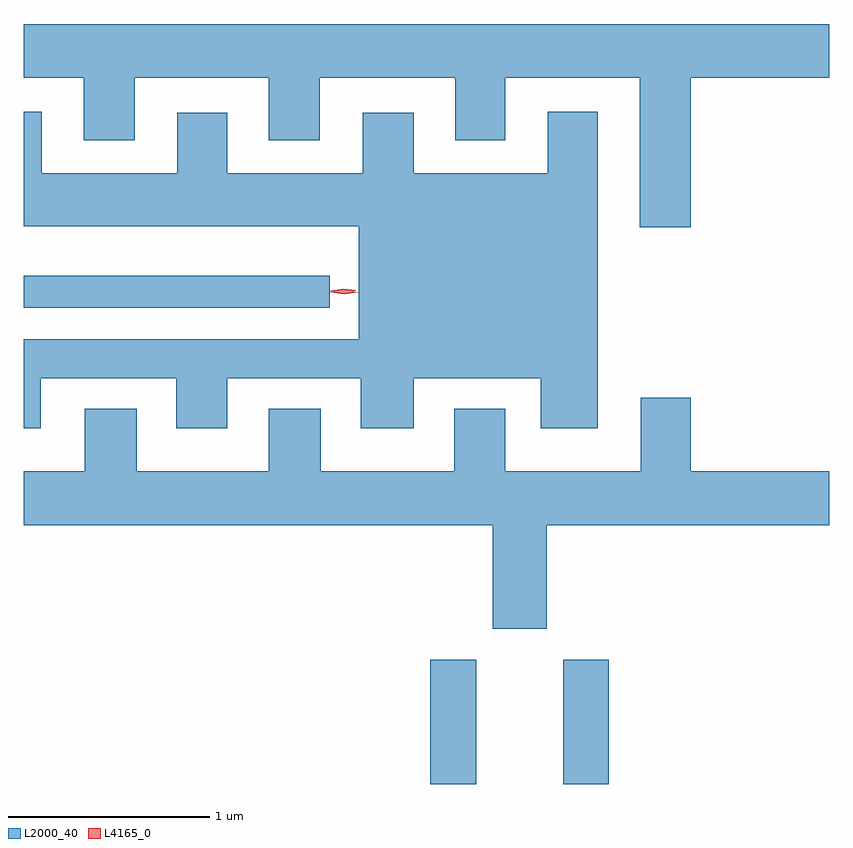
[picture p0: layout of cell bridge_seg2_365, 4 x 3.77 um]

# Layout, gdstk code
import gdstk
lib = gdstk.Library(unit=1e-6, precision=1e-09)
def R(c, l, rs):  # rectangles x0, y0, x1, y1
    for r in rs: c.add(gdstk.rectangle(r[:2], r[2:], *l))
def P(c, l, *ps):  # polygons
    for p in ps: c.add(gdstk.Polygon(p, *l))
L2000_40 = (2000, 40)
L4165_0 = (4165, 0)

bridge_seg2_365 = lib.new_cell('bridge_seg2_365')
R(bridge_seg2_365, L2000_40, [(598.826,1040.371,599.054,1040.989), (599.486,1040.371,599.714,1040.989), (596.808,1042.736,598.328,1042.894)])
P(bridge_seg2_365, L2000_40, [(600.119,1043.876),(600.808,1043.876),(600.808,1044.144),(596.808,1044.144),(596.808,1043.876),(597.106,1043.876),(597.106,1043.566),(597.359,1043.566),(597.359,1043.876),(598.026,1043.876),(598.026,1043.566),(598.279,1043.566),(598.279,1043.876),(598.951,1043.876),(598.951,1043.566),(599.199,1043.566),(599.199,1043.876),(599.866,1043.876),(599.866,1043.136),(600.119,1043.136)],
  [(596.894,1042.386),(597.566,1042.386),(597.566,1042.136),(597.819,1042.136),(597.819,1042.386),(598.481,1042.386),(598.481,1042.136),(598.744,1042.136),(598.744,1042.386),(599.376,1042.386),(599.376,1042.136),(599.659,1042.136),(599.659,1043.709),(599.411,1043.709),(599.411,1043.404),(598.744,1043.404),(598.744,1043.704),(598.491,1043.704),(598.491,1043.404),(597.819,1043.404),(597.819,1043.704),(597.571,1043.704),(597.571,1043.404),(596.899,1043.404),(596.899,1043.709),(596.808,1043.709),(596.808,1043.141),(598.471,1043.141),(598.471,1042.579),(596.808,1042.579),(596.808,1042.136),(596.894,1042.136)],
  [(599.404,1041.656),(600.808,1041.656),(600.808,1041.924),(600.119,1041.924),(600.119,1042.289),(599.871,1042.289),(599.871,1041.924),(599.199,1041.924),(599.199,1042.234),(598.946,1042.234),(598.946,1041.924),(598.284,1041.924),(598.284,1042.234),(598.026,1042.234),(598.026,1041.924),(597.369,1041.924),(597.369,1042.234),(597.111,1042.234),(597.111,1041.924),(596.808,1041.924),(596.808,1041.656),(599.136,1041.656),(599.136,1041.141),(599.404,1041.141)])
P(bridge_seg2_365, L4165_0, [(598.395,1042.81),(598.333,1042.818),(598.333,1042.818),(598.333,1042.819),(598.395,1042.829),(598.457,1042.821),(598.458,1042.82),(598.457,1042.82)],
  [(598.399,1042.803),(598.33,1042.812),(598.33,1042.813),(598.33,1042.813),(598.399,1042.823),(598.467,1042.813),(598.468,1042.813),(598.467,1042.812)])

lib.write_gds('bridge_seg2_365.gds')
